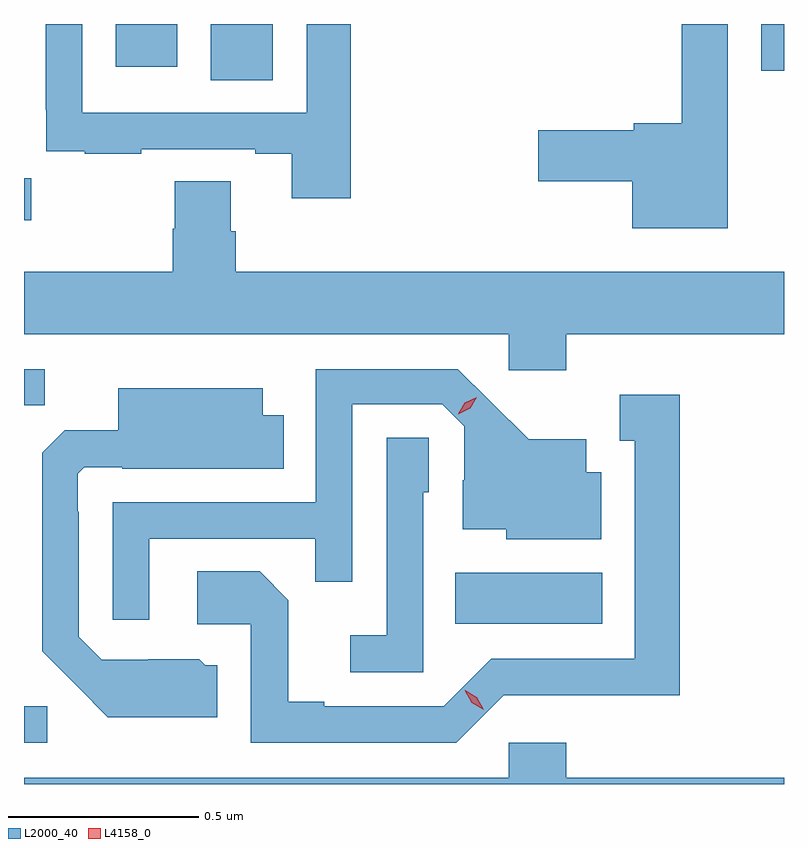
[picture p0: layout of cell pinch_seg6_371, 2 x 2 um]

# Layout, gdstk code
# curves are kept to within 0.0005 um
import gdstk
lib = gdstk.Library(unit=1e-6, precision=1e-09)
def R(c, l, rs):  # rectangles x0, y0, x1, y1
    for r in rs: c.add(gdstk.rectangle(r[:2], r[2:], *l))
def P(c, l, *ps):  # polygons
    for p in ps: c.add(gdstk.Polygon(p, *l))
L2000_40 = (2000, 40)
L4158_0 = (4158, 0)

pinch_seg6_371 = lib.new_cell('pinch_seg6_371')
R(pinch_seg6_371, L2000_40, [(637.953,955.584,638.014,955.68), (639.088,955.898,639.475,956.032), (637.953,956.473,638.007,956.568), (637.953,956.96,637.972,957.07), (638.444,957.328,638.608,957.476), (639.893,957.353,639.953,957.476), (638.195,957.363,638.356,957.476)])
P(pinch_seg6_371, L2000_40, [(639.805,957.476),(639.684,957.476),(639.684,957.215),(639.558,957.215),(639.558,957.197),(639.306,957.197),(639.306,957.062),(639.554,957.062),(639.554,956.939),(639.805,956.939)],
  [(638.813,957.476),(638.697,957.476),(638.697,957.243),(638.106,957.243),(638.106,957.476),(638.01,957.476),(638.01,957.25),(638.011,957.25),(638.011,957.141),(638.113,957.141),(638.113,957.135),(638.261,957.135),(638.261,957.147),(638.561,957.147),(638.561,957.135),(638.657,957.135),(638.657,957.018),(638.813,957.018)],
  [(639.38,956.66),(639.953,956.66),(639.953,956.824),(638.51,956.824),(638.51,956.93),(638.497,956.93),(638.497,957.062),(638.35,957.062),(638.35,956.937),(638.345,956.937),(638.345,956.824),(637.953,956.824),(637.953,956.66),(639.228,956.66),(639.228,956.565),(639.38,956.565)],
  [(638.283,956.121),(638.719,956.121),(638.719,956.008),(638.817,956.008),(638.817,956.475),(639.054,956.475),(639.111,956.418),(639.111,956.276),(639.107,956.276),(639.107,956.147),(639.222,956.147),(639.222,956.12),(639.472,956.12),(639.472,956.296),(639.433,956.296),(639.433,956.383),(639.281,956.383),(639.094,956.568),(638.721,956.568),(638.721,956.217),(638.187,956.217),(638.187,955.908),(638.283,955.908)],
  [(638.461,955.788),(638.43,955.788),(638.414,955.804),(638.28,955.804),(638.28,955.803),(638.157,955.803),(638.097,955.863),(638.097,956.192),(638.094,956.192),(638.094,956.292),(638.112,956.31),(638.212,956.31),(638.212,956.306),(638.636,956.306),(638.636,956.446),(638.581,956.446),(638.581,956.518),(638.201,956.518),(638.201,956.407),(638.06,956.407),(638.001,956.348),(638.001,955.826),(638.173,955.652),(638.461,955.652)],
  [(639.216,955.71),(639.438,955.71),(639.438,955.709),(639.679,955.709),(639.679,956.5),(639.521,956.5),(639.521,956.379),(639.56,956.379),(639.56,955.806),(639.183,955.806),(639.057,955.68),(638.743,955.68),(638.743,955.693),(638.649,955.693),(638.649,955.96),(638.573,956.036),(638.409,956.036),(638.409,955.896),(638.55,955.896),(638.55,955.584),(639.09,955.584)],
  [(639.003,956.244),(639.018,956.244),(639.018,956.387),(638.907,956.387),(638.907,955.867),(638.811,955.867),(638.811,955.77),(639.003,955.77)],
  [(639.953,955.492),(639.38,955.492),(639.38,955.585),(639.228,955.585),(639.228,955.492),(637.953,955.492),(637.953,955.476),(639.953,955.476)])
P(pinch_seg6_371, L4158_0, [(639.163,955.671),(639.131,955.69),(639.113,955.723),(639.113,955.723),(639.114,955.723),(639.145,955.704),(639.163,955.672),(639.163,955.671)],
  [(639.096,956.449),(639.096,956.45),(639.113,956.479),(639.144,956.494),(639.144,956.494),(639.144,956.494),(639.127,956.465),(639.096,956.449)])

lib.write_gds('pinch_seg6_371.gds')
